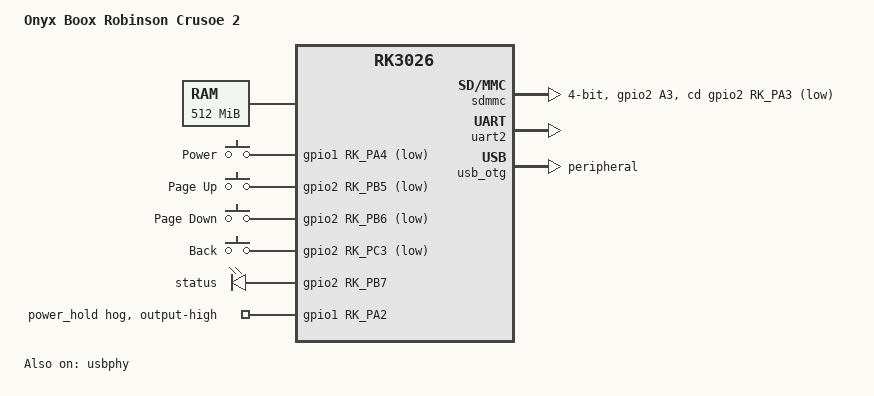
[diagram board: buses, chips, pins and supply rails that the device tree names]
// SPDX-License-Identifier: (GPL-2.0+ OR MIT)
/*
 * ONYX BOOX Robinson Crusoe 2 (MC_Kepler_R2, pcb V1.73), RK3026, 512 MiB DDR3.
 *
 * The NAND controller's pads are the eMMC data lines; eMMC, NAND and SDIO
 * are not used. The microSD slot is the only block device.
 * Power: no PMIC and no regulator is described; the I2C buses stay
 * disabled.
 */

/dts-v1/;
#include "rk3026.dtsi"
#include <dt-bindings/input/input.h>

/delete-node/ &emmc;
/delete-node/ &nfc;
/delete-node/ &sdio;

/ {
	model = "Onyx Boox Robinson Crusoe 2";
	compatible = "onyx,rc2", "rockchip,rk3026";

	aliases {
		mmc0 = &sdmmc;
	};

	chosen {
		stdout-path = "serial2:115200n8";
	};

	memory@60000000 {
		device_type = "memory";
		reg = <0x60000000 0x20000000>; /* 512 MiB */
	};

	/* Top 1 MiB: E Ink waveform, ramoops and a loader log page */
	reserved-memory {
		#address-cells = <1>;
		#size-cells = <1>;
		ranges;

		waveform@7ff00000 {
			reg = <0x7ff00000 0x40000>;
			no-map;
		};

		ramoops@7ff40000 {
			compatible = "ramoops";
			reg = <0x7ff40000 0x80000>;
			console-size = <0x40000>;
			record-size = <0x20000>;
		};

		loader-log@7ffc0000 {
			reg = <0x7ffc0000 0x40000>;
			no-map;
		};
	};

	gpio-keys {
		compatible = "gpio-keys";

		key-power {
			label = "Power";
			gpios = <&gpio1 RK_PA4 GPIO_ACTIVE_LOW>;
			linux,code = <KEY_POWER>;
		};

		key-pageup {
			label = "Page Up";
			gpios = <&gpio2 RK_PB5 GPIO_ACTIVE_LOW>;
			linux,code = <KEY_PAGEUP>;
		};

		key-pagedown {
			label = "Page Down";
			gpios = <&gpio2 RK_PB6 GPIO_ACTIVE_LOW>;
			linux,code = <KEY_PAGEDOWN>;
		};

		key-back {
			label = "Back";
			gpios = <&gpio2 RK_PC3 GPIO_ACTIVE_LOW>;
			linux,code = <KEY_BACK>;
		};
	};

	leds {
		compatible = "gpio-leds";

		led-0 {
			label = "status";
			gpios = <&gpio2 RK_PB7 GPIO_ACTIVE_HIGH>;
		};
	};
};

&gpio1 {
	/*
	 * Power hold: the PMIC drops the rails when the power key is released
	 * unless this line is high.
	 */
	power-hold-hog {
		gpio-hog;
		gpios = <RK_PA2 GPIO_ACTIVE_HIGH>;
		output-high;
		line-name = "power_hold";
	};
};

&pinctrl {
	sdmmc {
		/* on eMMC boards the card detect is GPIO2_A3, not GPIO1_C1 */
		sdmmc_cd_gpio: sdmmc-cd-gpio {
			rockchip,pins = <2 RK_PA3 RK_FUNC_GPIO &pcfg_pull_default>;
		};
	};
};

&sdmmc {
	bus-width = <4>;
	cap-sd-highspeed;
	max-frequency = <25000000>;
	cd-gpios = <&gpio2 RK_PA3 GPIO_ACTIVE_LOW>;
	disable-wp;
	fifo-mode;
	pinctrl-names = "default";
	pinctrl-0 = <&sdmmc_clk &sdmmc_cmd &sdmmc_bus4 &sdmmc_cd_gpio>;
	status = "okay";
};

/*
 * UART2 (GPIO2_C6/C7) has no known connector on this board: the block is
 * enabled as the "serial" console device but its pins are never muxed.
 * The console is the USB CDC-ACM gadget.
 */
&uart2 {
	/delete-property/ pinctrl-names;
	/delete-property/ pinctrl-0;
	status = "okay";
};

&usbphy {
	status = "okay";
};

&usb_otg {
	dr_mode = "peripheral";
	status = "okay";
};
